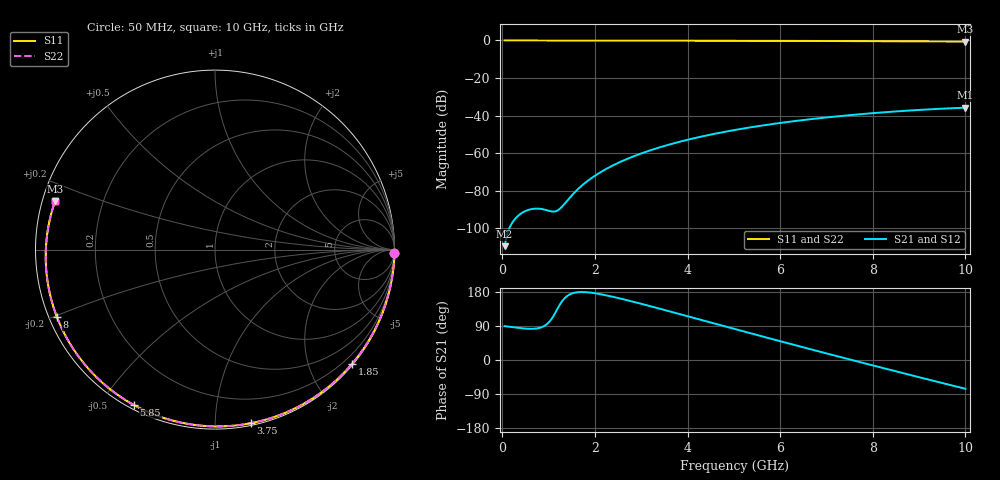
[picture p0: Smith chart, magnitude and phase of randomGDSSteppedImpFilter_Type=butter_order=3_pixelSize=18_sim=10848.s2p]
! freq	dB(S11)	phase(S11)	dB(S12)	phase(S12)
!  dB(S21)	phase(S21)	dB(S22)	phase(S22)
!S-par simulation data
#  GHz  S  DB  R 50
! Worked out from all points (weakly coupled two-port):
!   200 points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, 50 MHz to 10 GHz, reference 50 ohm
!   highest |S21| = -35.79 dB at 10 GHz (marker M1); lowest = -109.5 dB at 50 MHz (marker M2)
!   lowest |S11| = -0.6 dB at 10 GHz (marker M3), VSWR 28.02, Z = 1.82 + j7.39 ohm
!   |S11| at or under -10 dB: nowhere
!   |S22| runs from -0.6 to 0.0 dB; largest |S21 - S12| = 0
!   S11 on the Smith chart (normalised r, x): 50 MHz: open; 1.85 GHz: 0.03, -2.76; 3.75 GHz: 0.02, -1.23; 5.85 GHz: 0.02, -0.61; 8 GHz: 0.02, -0.20; 10 GHz: 0.04, +0.15
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0.05  -0.00 -1.1  -109.55 89.3  -109.55 89.3  -0.00 -1.1
0.4  -0.01 -8.8  -92.24 84.0  -92.24 84.0  -0.01 -8.8
0.8  -0.02 -17.5  -89.61 84.6  -89.61 84.6  -0.02 -17.5
1.6  -0.04 -34.6  -79.97 178.4  -79.97 178.4  -0.04 -34.6
1.75  -0.05 -37.7  -76.62 179.3  -76.62 179.3  -0.05 -37.7
1.85  -0.05 -39.8  -74.66 178.5  -74.66 178.5  -0.05 -39.8
2.15  -0.06 -46.1  -69.74 173.0  -69.74 173.0  -0.06 -46.1
2.5  -0.07 -53.3  -65.22 163.6  -65.22 163.6  -0.07 -53.3
2.9  -0.08 -61.4  -61.08 151.5  -61.08 151.5  -0.08 -61.4
3.4  -0.10 -71.4  -56.91 135.4  -56.91 135.4  -0.10 -71.4
3.75  -0.11 -78.2  -54.46 123.9  -54.46 123.9  -0.11 -78.2
4.4  -0.13 -90.7  -50.65 102.3  -50.65 102.3  -0.13 -90.7
5.05  -0.16 -102.9  -47.55 80.8  -47.55 80.8  -0.16 -102.9
5.85  -0.20 -117.6  -44.45 54.5  -44.45 54.5  -0.20 -117.6
6.7  -0.26 -133.0  -41.80 27.0  -41.80 27.0  -0.26 -133.0
7.35  -0.32 -144.8  -40.13 6.2  -40.13 6.2  -0.32 -144.8
8  -0.38 -156.9  -38.72 -14.3  -38.72 -14.3  -0.38 -156.9
8.35  -0.42 -163.5  -38.05 -25.2  -38.05 -25.2  -0.42 -163.5
8.8  -0.47 -172.2  -37.29 -39.2  -37.29 -39.2  -0.47 -172.2
9.2  -0.52 179.9  -36.71 -51.6  -36.71 -51.6  -0.52 179.9
9.6  -0.57 171.7  -36.21 -63.8  -36.21 -63.8  -0.57 171.7
10  -0.62 163.2  -35.79 -75.9  -35.79 -75.9  -0.62 163.2
